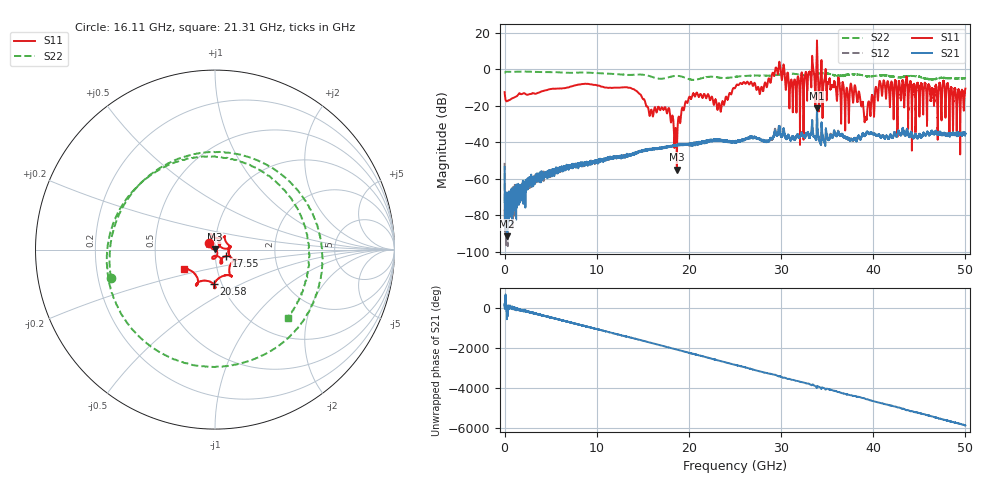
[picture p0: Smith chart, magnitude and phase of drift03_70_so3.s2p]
!Created with skrf (http://scikit-rf.org).
# Hz S RI R 50.0
!freq ReS11 ImS11 ReS21 ImS21 ReS12 ImS12 ReS22 ImS22
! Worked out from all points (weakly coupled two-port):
!   10001 points, 300 kHz to 50 GHz, reference 50 ohm
!   highest |S21| = -21.41 dB at 33.9 GHz (marker M1); lowest = -91.7 dB at 285.3 MHz (marker M2)
!   lowest |S11| = -55.0 dB at 18.69 GHz (marker M3), VSWR 1.00, Z = 49.9 + j0.153 ohm
!   |S11| at or under -10 dB: start of sweep to 6.944 GHz; 13.31 GHz to 25.05 GHz (11.74 GHz wide, 61.2 % of centre); 38.07 GHz to 40.26 GHz (2.187 GHz wide, 5.59 % of centre) (the widest 3 of 53)
!   |S22| runs from -5.9 to -1.3 dB; largest |S21 - S12| = 0.0075
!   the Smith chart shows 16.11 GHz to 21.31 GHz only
!   S11 on the Smith chart (normalised r, x): 16.11 GHz: 0.93, +0.07; 17.55 GHz: 1.13, -0.08; 20.58 GHz: 0.92, -0.37; 21.31 GHz: 0.69, -0.16
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300000  -0.2089 -0.1041  -0.000195 0.00206  0.00197 0.00183  -0.759 -0.2063
2.852983e8  -0.1062 0.0801  -1.99e-05 -1.66e-05  7e-05 0.000112  -0.7119 0.4605
1.535291e9  0.2047 0.0435  1.57e-05 -0.000451  -0.000203 -0.000544  0.8481 0.0774
3.160281e9  -0.2185 -0.00848  0.000298 0.000769  0.000101 0.00071  -0.8439 -0.0243
4.665272e9  0.2632 0.0613  -0.000131 -0.00129  0.000108 -0.00127  0.8187 0.1421
6.360262e9  -0.3007 0.000756  0.00053 0.00184  0.000481 0.00188  -0.8034 -0.0429
8.33525e9  0.2838 -0.2676  -0.00223 -0.00093  -0.00237 -0.00102  0.6025 -0.5352
1.043024e10  -0.0427 0.3323  0.00267 -0.00166  0.00244 -0.00195  -0.0364 0.7696
1.201523e10  0.00731 -0.3081  -0.00284 0.00263  -0.00288 0.00261  0.1068 -0.7296
1.61102e10  -0.0325 0.0388  0.00601 0.00219  0.00607 0.00231  -0.5789 -0.157
1.66702e10  0.0544 0.0752  0.00469 -0.00499  0.00451 -0.00493  -0.3604 0.4173
1.754519e10  0.0619 -0.0357  -0.00624 -0.0038  -0.00638 -0.00381  0.5041 0.2715
1.869019e10  -0.00088 0.00154  0.00227 0.0079  0.00222 0.00777  -0.0846 -0.6478
2.057518e10  -0.00498 -0.1934  -0.00842 -0.00451  -0.008 -0.00421  0.3736 0.345
2.131017e10  -0.1724 -0.109  -0.00487 0.00751  -0.00576 0.00823  0.4048 -0.3803
2.500015e10  -0.2963 -0.0484  0.00752 0.00641  0.0078 0.00641  -0.1857 -0.5811
3.051012e10  0.2489 -0.1042  -0.00193 0.0127  -0.00218 0.0128  0.7418 -0.0597
3.213011e10  0.1994 0.3736  -0.000282 -0.0147  -0.000584 -0.0153  -0.6941 0.0119
3.33351e10  0.4933 -0.9879  -0.00567 0.0247  -0.00622 0.0243  0.6167 0.3648
3.38951e10  -0.6038 -6.084  0.084 0.0134  0.0788 0.00799  0.6779 -0.3239
4.167005e10  -0.2266 0.2804  -0.0123 -0.00434  -0.0118 -0.00517  -0.6485 -0.0606
5e10  -0.14 -0.257  -0.000472 -0.0166  0.000326 -0.0164  0.4658 -0.3166
